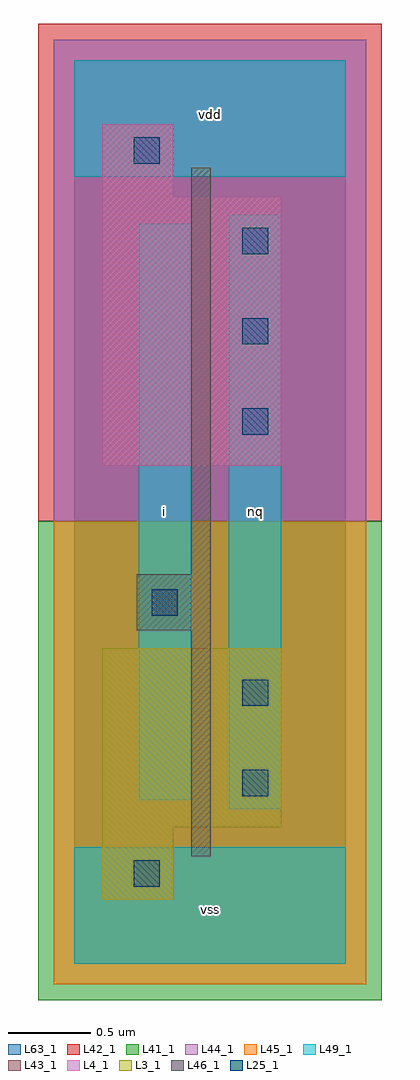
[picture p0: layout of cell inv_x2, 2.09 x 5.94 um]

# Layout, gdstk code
import gdstk
lib = gdstk.Library(unit=1e-6, precision=1e-09)
def R(c, l, rs):  # rectangles x0, y0, x1, y1
    for r in rs: c.add(gdstk.rectangle(r[:2], r[2:], *l))
def A(c, l, x, y, w, h, nx, ny, dx, dy):  # array of equal rectangles
    R(c, l, [(x+i*dx, y+j*dy, x+i*dx+w, y+j*dy+h) for i in range(nx) for j in range(ny)])
L3_1 = (3, 1)
L4_1 = (4, 1)
L25_1 = (25, 1)
L41_1 = (41, 1)
L42_1 = (42, 1)
L43_1 = (43, 1)
L44_1 = (44, 1)
L45_1 = (45, 1)
L46_1 = (46, 1)
L49_1 = (49, 1)
L63_1 = (63, 1)

inv_x2 = lib.new_cell('inv_x2')
R(inv_x2, L3_1, [(0.17,0.39,0.6,0.83), (0.17,0.83,1.26,1.92)])
R(inv_x2, L4_1, [(0.17,3.03,1.26,4.67), (0.17,4.67,0.6,5.11)])
A(inv_x2, L25_1, 1.02, 3.22, 0.16, 0.16, 1, 3, 0, 0.55)
R(inv_x2, L25_1, [(0.36,0.47,0.52,0.63), (1.02,1.02,1.18,1.18), (1.02,1.57,1.18,1.73), (0.47,2.12,0.63,2.28), (0.36,4.87,0.52,5.03)])
R(inv_x2, L41_1, [(-0.22,-0.22,1.87,2.695)])
R(inv_x2, L42_1, [(-0.22,2.695,1.87,5.72)])
R(inv_x2, L43_1, [(0.17,0.39,0.6,0.83), (0.17,0.83,1.26,1.92), (0.17,3.03,1.26,4.67), (0.17,4.67,0.6,5.11)])
R(inv_x2, L44_1, [(-0.125,2.695,1.775,5.625)])
R(inv_x2, L45_1, [(-0.125,-0.125,1.775,2.695)])
R(inv_x2, L46_1, [(0.71,0.655,0.83,2.03), (0.38,2.03,0.83,2.37), (0.71,2.37,0.83,4.845)])
R(inv_x2, L49_1, [(0,0,1.65,0.71), (0.94,0.94,1.26,4.56), (0.39,0.995,0.71,4.505), (0,4.79,1.65,5.5)])
R(inv_x2, L63_1, [(0,0,1.65,5.5)])
inv_x2.add(gdstk.Label('vss', (0.825,0.33), layer=49, texttype=1))
inv_x2.add(gdstk.Label('vss', (0.825,0.33), layer=49, texttype=1))
inv_x2.add(gdstk.Label('i', (0.55,2.75), layer=49, texttype=1))
inv_x2.add(gdstk.Label('i', (0.55,2.75), layer=49, texttype=1))
inv_x2.add(gdstk.Label('vdd', (0.825,5.17), layer=49, texttype=1))
inv_x2.add(gdstk.Label('vdd', (0.825,5.17), layer=49, texttype=1))
inv_x2.add(gdstk.Label('nq', (1.1,2.75), layer=49, texttype=1))
inv_x2.add(gdstk.Label('nq', (1.1,2.75), layer=49, texttype=1))

lib.write_gds('inv_x2.gds')
